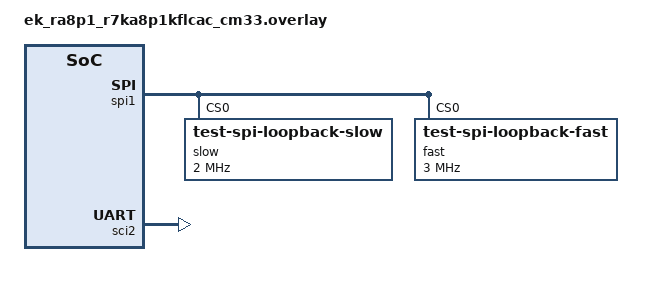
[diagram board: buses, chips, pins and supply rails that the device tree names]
/*
 * Copyright (c) 2025 Renesas Electronics Corporation
 * SPDX-License-Identifier: Apache-2.0
 */

#include <zephyr/dt-bindings/clock/ra_clock.h>

&spi1 {
	rx-dtc;
	tx-dtc;

	slow@0 {
		compatible = "test-spi-loopback-slow";
		reg = <0>;
		spi-max-frequency = <2000000>;
	};

	fast@0 {
		compatible = "test-spi-loopback-fast";
		reg = <0>;
		spi-max-frequency = <3000000>;
	};
};

&pinctrl {
	sci2_default: sci2_default {
		group1 {
			psels = <RA_PSEL(RA_PSEL_SCI_2, 8, 1)>;
			drive-strength = "medium";
		};
		group2 {
			psels = <RA_PSEL(RA_PSEL_SCI_2, 8, 2)>;
		};
	};
};

&sci2 {
	interrupts = <30 1>, <31 1>, <32 1>, <33 1>;
	interrupt-names = "rxi", "txi", "tei", "eri";
	pinctrl-0 = <&sci2_default>;
	pinctrl-names = "default";
	status = "okay";
	dut: uart {
		current-speed = <115200>;
		status = "okay";
	};
};
